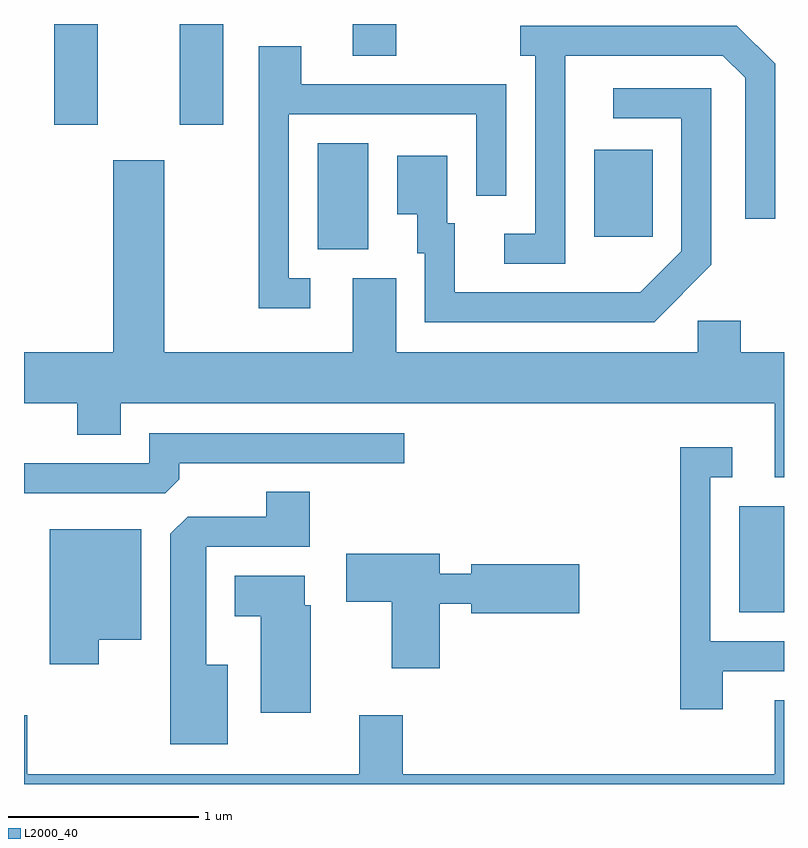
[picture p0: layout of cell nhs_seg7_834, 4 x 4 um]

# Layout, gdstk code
import gdstk
lib = gdstk.Library(unit=1e-6, precision=1e-09)
def R(c, l, rs):  # rectangles x0, y0, x1, y1
    for r in rs: c.add(gdstk.rectangle(r[:2], r[2:], *l))
def P(c, l, *ps):  # polygons
    for p in ps: c.add(gdstk.Polygon(p, *l))
L2000_40 = (2000, 40)

nhs_seg7_834 = lib.new_cell('nhs_seg7_834')
R(nhs_seg7_834, L2000_40, [(213.376,1773.156,213.611,1773.714), (211.156,1775.066,211.424,1775.624), (212.611,1775.131,212.919,1775.589), (209.771,1775.721,209.999,1776.252), (210.431,1775.721,210.659,1776.252), (211.341,1776.086,211.569,1776.252)])
P(nhs_seg7_834, L2000_40, [(212.459,1776.086),(213.289,1776.086),(213.406,1775.969),(213.406,1775.228),(213.564,1775.228),(213.564,1776.042),(213.362,1776.244),(212.223,1776.244),(212.223,1776.086),(212.301,1776.086),(212.301,1775.149),(212.138,1775.149),(212.138,1774.991),(212.459,1774.991)],
  [(211.118,1774.914),(211.004,1774.914),(211.004,1775.776),(211.991,1775.776),(211.991,1775.348),(212.149,1775.348),(212.149,1775.934),(211.069,1775.934),(211.069,1776.134),(210.846,1776.134),(210.846,1774.756),(211.118,1774.756)],
  [(213.229,1774.984),(213.229,1775.914),(212.713,1775.914),(212.713,1775.756),(213.071,1775.756),(213.071,1775.057),(212.854,1774.839),(211.879,1774.839),(211.879,1775.204),(211.839,1775.204),(211.839,1775.559),(211.576,1775.559),(211.576,1775.251),(211.681,1775.251),(211.681,1775.046),(211.721,1775.046),(211.721,1774.681),(212.927,1774.681)],
  [(213.611,1774.524),(213.384,1774.524),(213.384,1774.689),(213.156,1774.689),(213.156,1774.524),(211.569,1774.524),(211.569,1774.914),(211.341,1774.914),(211.341,1774.524),(210.349,1774.524),(210.349,1775.534),(210.081,1775.534),(210.081,1774.524),(209.611,1774.524),(209.611,1774.256),(209.891,1774.256),(209.891,1774.091),(210.119,1774.091),(210.119,1774.256),(213.561,1774.256),(213.561,1773.866),(213.611,1773.866)],
  [(210.429,1773.857),(210.429,1773.941),(211.613,1773.941),(211.613,1774.099),(210.271,1774.099),(210.271,1773.939),(209.611,1773.939),(209.611,1773.781),(210.354,1773.781)],
  [(213.289,1772.846),(213.611,1772.846),(213.611,1773.004),(213.224,1773.004),(213.224,1773.866),(213.338,1773.866),(213.338,1774.024),(213.066,1774.024),(213.066,1772.646),(213.289,1772.646)],
  [(210.684,1772.879),(210.569,1772.879),(210.569,1773.501),(211.114,1773.501),(211.114,1773.789),(210.886,1773.789),(210.886,1773.659),(210.472,1773.659),(210.381,1773.569),(210.381,1772.461),(210.684,1772.461)],
  [(210.004,1773.011),(210.229,1773.011),(210.229,1773.594),(209.746,1773.594),(209.746,1772.881),(210.004,1772.881)],
  [(211.799,1773.201),(211.966,1773.201),(211.966,1773.151),(212.534,1773.151),(212.534,1773.409),(211.966,1773.409),(211.966,1773.359),(211.799,1773.359),(211.799,1773.464),(211.306,1773.464),(211.306,1773.211),(211.546,1773.211),(211.546,1772.861),(211.799,1772.861)],
  [(211.119,1773.194),(211.089,1773.194),(211.089,1773.349),(210.721,1773.349),(210.721,1773.136),(210.856,1773.136),(210.856,1772.626),(211.119,1772.626)],
  [(213.611,1772.694),(213.561,1772.694),(213.561,1772.304),(211.604,1772.304),(211.604,1772.614),(211.376,1772.614),(211.376,1772.304),(209.629,1772.304),(209.629,1772.614),(209.611,1772.614),(209.611,1772.252),(213.611,1772.252)])

lib.write_gds('nhs_seg7_834.gds')
